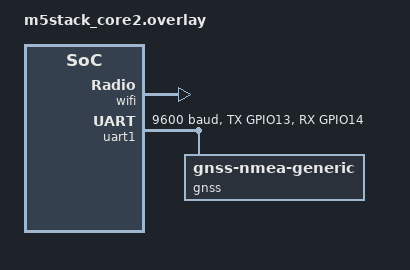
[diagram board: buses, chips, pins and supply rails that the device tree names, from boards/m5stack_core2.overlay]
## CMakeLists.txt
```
# Copyright (c) 2023 Trackunit Corporation
# SPDX-License-Identifier: Apache-2.0

cmake_minimum_required(VERSION 3.28.3)
find_package(Zephyr REQUIRED HINTS $ENV{ZEPHYR_BASE})
project(gnss_sample)

target_sources(app PRIVATE src/main.c)
```

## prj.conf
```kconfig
# Copyright (c) 2023 Trackunit Corporation
# SPDX-License-Identifier: Apache-2.0

CONFIG_GNSS=y
CONFIG_GNSS_SATELLITES=y
# CONFIG_LOG=y
CONFIG_LOG_BUFFER_SIZE=1024
# CONFIG_GNSS_DUMP_TO_LOG=y
# CONFIG_GNSS_LOG_LEVEL_DBG=y

# UI
CONFIG_DISPLAY=y
CONFIG_LVGL=y
CONFIG_LV_CONF_MINIMAL=y # by using minimal config, we can only use the features we need and save
                         # 10s of KB of ROM
CONFIG_LV_DRAW_COMPLEX=y
CONFIG_LV_Z_MEM_POOL_SYS_HEAP=y
CONFIG_LV_Z_MEMORY_POOL_CUSTOM_SECTION=y
CONFIG_LV_Z_MEM_POOL_SIZE=700000
CONFIG_SYS_HEAP_AUTO=y
#CONFIG_LV_Z_BUFFER_ALLOC_DYNAMIC=y
CONFIG_DISPLAY_LOG_LEVEL_ERR=y
CONFIG_LV_MEM_CUSTOM=y
# CONFIG_LV_USE_LOG=y
CONFIG_LV_USE_LABEL=y
CONFIG_LV_USE_LINE=y
CONFIG_LV_USE_METER=y
CONFIG_LV_USE_BTN=y
CONFIG_LV_FONT_MONTSERRAT_14=y
CONFIG_LV_FONT_MONTSERRAT_8=y
CONFIG_LV_FONT_DEFAULT_MONTSERRAT_14=y
CONFIG_LV_USE_THEME_DEFAULT=y

CONFIG_LV_USE_IMG=y
CONFIG_LV_USE_PNG=y # osm tiles are in png format

#
# Logging
#
# CONFIG_LV_USE_LOG=y
# CONFIG_LV_LOG_LEVEL_INFO=y
# CONFIG_LV_LOG_PRINTF=y
# CONFIG_LV_Z_SHELL=y

CONFIG_SYSTEM_WORKQUEUE_STACK_SIZE=6000
CONFIG_MAIN_STACK_SIZE=6000

# # Networking
CONFIG_REQUIRES_FULL_LIBC=y
CONFIG_NETWORKING=y
CONFIG_NET_TCP=y
CONFIG_WIFI=y
CONFIG_NET_L2_ETHERNET=y
CONFIG_NET_L2_WIFI_SHELL=y
CONFIG_NET_IPV6=n
CONFIG_NET_IPV4=y
CONFIG_NET_DHCPV4=y
CONFIG_ESP32_WIFI_STA_AUTO_DHCPV4=y
CONFIG_NET_SOCKETS=y
CONFIG_NET_SOCKETS_POSIX_NAMES=y
CONFIG_NET_TCP_WORKQ_STACK_SIZE=2000

CONFIG_DNS_RESOLVER=y

CONFIG_ESP_SPIRAM=y
CONFIG_ESP_HEAP_MIN_EXTRAM_THRESHOLD=4096
CONFIG_HEAP_MEM_POOL_SIZE=90000
# CONFIG_ESP_SPIRAM_HEAP_SIZE=2000000
# CONFIG_ESP_HEAP_SEARCH_ALL_REGIONS=n

#CONFIG_ESP32_WIFI_NET_ALLOC_SPIRAM=y

# LOGS
# CONFIG_NET_LOG=y
# CONFIG_DNS_RESOLVER_LOG_LEVEL_DBG=y

CONFIG_INPUT=n
CONFIG_SYS_HEAP_RUNTIME_STATS=y
```

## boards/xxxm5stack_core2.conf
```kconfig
CONFIG_ESP_SPIRAM=y
CONFIG_ESP_HEAP_MIN_EXTRAM_THRESHOLD=2048
CONFIG_ESP_HEAP_SEARCH_ALL_REGIONS=y
CONFIG_ESP_SPIRAM_HEAP_SIZE=2000000

CONFIG_ESP32_WIFI_STA_AUTO_DHCPV4=y
# CONFIG_ESP32_WIFI_NET_ALLOC_SPIRAM=y

CONFIG_ESP_HEAP_MEM_POOL_REGION_1_SIZE=100000
```

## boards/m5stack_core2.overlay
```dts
#include <zephyr/dt-bindings/pinctrl/esp-pinctrl-common.h>
#include <dt-bindings/pinctrl/esp32-pinctrl.h>
#include <zephyr/dt-bindings/pinctrl/esp32-gpio-sigmap.h>

/ {
	aliases {
		gnss = &gnss;
	};

	chosen {
		uart,passthrough = &uart1;
	};
};

&wifi {
	status = "okay";

};

&psram0 {
	status = "okay";
};

&pinctrl {
	uart1_default: uart1_default {
		group1 {
			pinmux = <UART1_TX_GPIO13>;
			// output-high;
		};
		group2 {
			pinmux = <UART1_RX_GPIO14>;
			bias-pull-up;
		};
	};
};


&uart1 {
	status = "okay";
	current-speed = <9600>;

	pinctrl-0 = <&uart1_default>;
	pinctrl-names = "default";

	gnss: gnss-nmea-generic {
		compatible = "gnss-nmea-generic";
	};
};
```

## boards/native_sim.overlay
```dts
/ {
        aliases {
                gnss = &gnss;
        };


        uart2: uart2 {
                status = "okay";
                compatible = "zephyr,native-tty-uart";
                current-speed = <9600>;
                serial-port = "/dev/pts/3";

                gnss: gnss-nmea-generic {
                        compatible = "gnss-nmea-generic";
                };

        };

};
```

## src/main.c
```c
/*
 * Copyright (c) 2023 Trackunit Corporation
 *
 * SPDX-License-Identifier: Apache-2.0
 */

#include <stdio.h>
#include <stdlib.h>
#include <string.h>
#include <math.h>

#ifndef M_PI
#define M_PI 3.14159265358979323846
#endif

#include <zephyr/kernel.h>

#include <zephyr/device.h>
#include <zephyr/drivers/gnss.h>

#include <zephyr/drivers/display.h>
#include <lvgl.h>

#include <zephyr/net/socket.h>

#define TILE_SIZE 256 // Standard OSM tile size in pixels

#define MIN_ZOOM_LEVEL     0
#define MAX_ZOOM_LEVEL     19
#define DEFAULT_ZOOM_LEVEL 18
uint8_t current_zoom_level = DEFAULT_ZOOM_LEVEL;

#ifndef LV_ATTRIBUTE_MEM_ALIGN
#define LV_ATTRIBUTE_MEM_ALIGN
#endif

#ifndef LV_ATTRIBUTE_IMG_PNG_DECODER_TEST
#define LV_ATTRIBUTE_IMG_PNG_DECODER_TEST
#endif

lv_obj_t *img;
lv_obj_t *btn_zoom_in, *btn_zoom_out;

static lv_img_dsc_t my_png = {
	.header.always_zero = 0,
	.header.reserved = 0,
	.header.w = TILE_SIZE,
	.header.h = TILE_SIZE,
	.header.cf = LV_IMG_CF_RAW_ALPHA,
	.data = NULL,
	.data_size = 0,
};

LV_ATTRIBUTE_MEM_ALIGN LV_ATTRIBUTE_LARGE_CONST LV_ATTRIBUTE_IMG_PNG_DECODER_TEST uint8_t
	png_raw[7 * 1024];

#define SERVER_HOST "tile.openstreetmap.org"
#define SERVER_PORT 80
#define REQUEST_FMT                                                                                \
	"GET /%d/%d/%d.png HTTP/1.1\r\n"                                                           \
	"Host: " SERVER_HOST "\r\n"                                                                \
	"User-Agent: Zephyr RTOS/1.0\r\n"                                                          \
	"Connection: close\r\n\r\n"
#define SSTRLEN(s) (sizeof(s) - 1)
#define CHECK(r)                                                                                   \
	{                                                                                          \
		if (r == -1) {                                                                     \
			printf("Error: " #r "\n");                                                 \
			exit(1);                                                                   \
		}                                                                                  \
	}

// static void zoom_in_out(lv_event_t *e)
// {
// 	lv_obj_t *btn = lv_event_get_target(e);
// 	if (btn == btn_zoom_in) {
// 		if (current_zoom_level < MAX_ZOOM_LEVEL) {
// 			current_zoom_level++;
// 		}
// 	} else if (btn == btn_zoom_out) {
// 		if (current_zoom_level > MIN_ZOOM_LEVEL) {
// 			current_zoom_level--;
// 		}
// 	}
// }

// Function to calculate tile numbers based on latitude, longitude, and zoom level
void lat_lon_to_tile(double latitude, double longitude, uint8_t zoom, int *tile_x, int *tile_y)
{
	double lat_rad = latitude * M_PI / 180.0;
	int n = 1 << zoom;
	*tile_x = (int)floor((longitude + 180.0) / 360.0 * n);
	*tile_y = (int)floor((1.0 - log(tan(lat_rad) + 1.0 / cos(lat_rad)) / M_PI) / 2.0 * n);
}

static char buf[256];
static char full_response[7 * 1024];

void dump_addrinfo(const struct addrinfo *ai)
{
	printf("addrinfo @%p: ai_family=%d, ai_socktype=%d, ai_protocol=%d, "
	       "sa_family=%d, sin_port=%x\n",
	       ai, ai->ai_family, ai->ai_socktype, ai->ai_protocol, ai->ai_addr->sa_family,
	       ((struct sockaddr_in *)ai->ai_addr)->sin_port);
}

void download_tile(int zoom, int x, int y)
{
	static struct addrinfo hints;
	struct addrinfo *res;
	int st, sock;

	printf("Preparing HTTP GET request for http://" SERVER_HOST ":%d/%d/%d/%d.png\n",
	       SERVER_PORT, zoom, x, y);

	hints.ai_family = AF_INET;
	hints.ai_socktype = SOCK_STREAM;
	st = getaddrinfo(SERVER_HOST, "80", &hints, &res);
	printf("getaddrinfo status: %d\n", st);

	if (st != 0) {
		printf("Unable to resolve address, quitting\n");
		return 0;
	}

	dump_addrinfo(res);

	sock = socket(res->ai_family, res->ai_socktype, res->ai_protocol);

	CHECK(sock);
	printf("sock = %d\n", sock);

	CHECK(connect(sock, res->ai_addr, res->ai_addrlen));

	freeaddrinfo(res);

	snprintf(buf, sizeof(buf), REQUEST_FMT, zoom, x, y);

	CHECK(send(sock, buf, strlen(buf), 0));

	printf("Response:\n\n");

	int response_length = 0;
	memset(full_response, 0, sizeof(full_response));
	while (1) {
		int r = recv(sock, buf, sizeof(buf), 0);
		if (r <= 0) {
			break;
		}

		// Ensure we don't overflow the full_response buffer
		if (response_length + r > sizeof(full_response)) {
			break;
		}

		// Copy the received data to the end of full_response
		memcpy(full_response + response_length, buf, r);
		response_length += r;
	}

	// Find the start of the payload
	char *payload = memmem(full_response, response_length, "\r\n\r\n", 4);
	if (payload != NULL) {
		// Skip the "\r\n\r\n"
		payload += 4;
	} else {
		// No payload found
		printf("No payload found in the response\n");
		return;
	}

	// Calculate the size of the payload
	int payload_size = full_response + response_length - payload;
	printf("Payload size: %d\n", payload_size);

	memset(png_raw, 0, sizeof(png_raw));
	memcpy(png_raw, payload, payload_size);

	my_png.data = (uint8_t *)png_raw;
	my_png.data_size = payload_size;

	lv_img_set_src(img, &my_png);

	printf("Image has been set successfully\n");

	printf("\n");

	(void)close(sock);
	return 0;
}

static void gnss_data_cb(const struct device *dev, const struct gnss_data *data)
{
	int ret;
	const char *fmt = "navigation_data: {latitude: %s%lli.%09lli, longitude : %s%lli.%09lli, "
			  "bearing %u.%03u, speed %u.%03u, altitude: %s%i.%03i}";

	if (data->info.fix_status != GNSS_FIX_STATUS_NO_FIX) {
		// printf("%s has fix!\r\n", dev->name);

		struct navigation_data *nav_data = &data->nav_data;

		// printk("lon: %lld, lat: %lld, alt: %d\r\n", nav_data->longitude,
		//        nav_data->latitude, nav_data->altitude);

		// display tile URL
		int tile_x, tile_y;

		lat_lon_to_tile(nav_data->latitude / 1000000000.0,
				nav_data->longitude / 1000000000.0, current_zoom_level, &tile_x,
				&tile_y);

		static int counter = 0;
		if (counter++ % 4 == 0) {
			download_tile(current_zoom_level, tile_x, tile_y);
		}

		// display the tile
	}
}

GNSS_DATA_CALLBACK_DEFINE(DEVICE_DT_GET(DT_ALIAS(gnss)), gnss_data_cb);

int main(void)
{
	const struct device *display_dev;
	lv_obj_t *hello_world_label;

	display_dev = DEVICE_DT_GET(DT_CHOSEN(zephyr_display));
	if (!device_is_ready(display_dev)) {
		//		LOG_ERR("Device not ready, aborting test");
		return 0;
	}

	img = lv_img_create(lv_scr_act());
	// lv_img_set_src(img, &xx95963);
	lv_obj_align(img, LV_ALIGN_CENTER, 0, 0);

	// /* add zoom buttons */
	// btn_zoom_in = lv_btn_create(lv_scr_act());
	// lv_obj_set_size(btn_zoom_in, 80, 50);
	// lv_obj_align(btn_zoom_in, LV_ALIGN_BOTTOM_LEFT, 10, -10);
	// lv_obj_t *label1 = lv_label_create(btn_zoom_in);
	// lv_label_set_text(label1, "Zoom in");
	// lv_obj_add_event_cb(btn_zoom_in, zoom_in_out, LV_EVENT_CLICKED, NULL);

	// btn_zoom_out = lv_btn_create(lv_scr_act());
	// lv_obj_set_size(btn_zoom_out, 80, 50);
	// lv_obj_align(btn_zoom_out, LV_ALIGN_BOTTOM_RIGHT, -10, -10);
	// lv_obj_t *label2 = lv_label_create(btn_zoom_out);
	// lv_label_set_text(label2, "Zoom out");
	// lv_obj_add_event_cb(btn_zoom_out, zoom_in_out, LV_EVENT_CLICKED, NULL);

	lv_task_handler();
	display_blanking_off(display_dev);

	while (1) {
		lv_task_handler();
		k_sleep(K_MSEC(10));
	}

	return 0;
}
```
